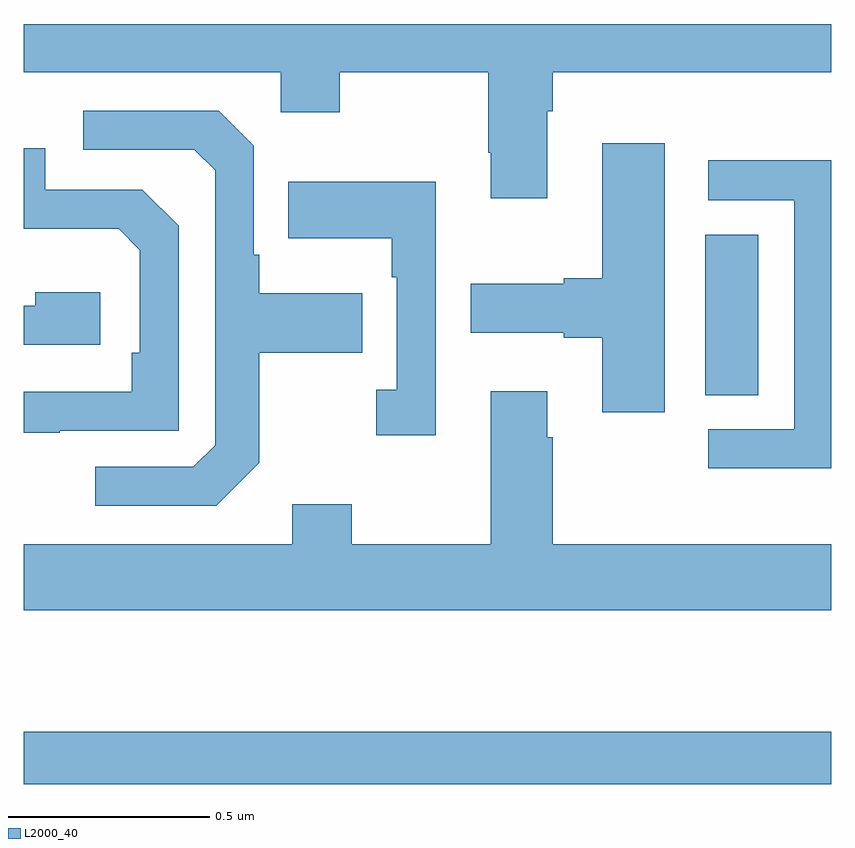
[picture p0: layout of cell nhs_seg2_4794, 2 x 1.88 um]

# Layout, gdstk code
import gdstk
lib = gdstk.Library(unit=1e-6, precision=1e-09)
def R(c, l, rs):  # rectangles x0, y0, x1, y1
    for r in rs: c.add(gdstk.rectangle(r[:2], r[2:], *l))
def P(c, l, *ps):  # polygons
    for p in ps: c.add(gdstk.Polygon(p, *l))
L2000_40 = (2000, 40)

nhs_seg2_4794 = lib.new_cell('nhs_seg2_4794')
R(nhs_seg2_4794, L2000_40, [(171,601.918,173,602.047), (172.688,602.881,172.819,603.278)])
P(nhs_seg2_4794, L2000_40, [(172.297,603.584),(172.31,603.584),(172.31,603.68),(173,603.68),(173,603.8),(171,603.8),(171,603.68),(171.636,603.68),(171.636,603.581),(171.783,603.581),(171.783,603.68),(172.15,603.68),(172.15,603.481),(172.157,603.481),(172.157,603.369),(172.297,603.369)],
  [(171.583,602.713),(171.583,602.986),(171.839,602.986),(171.839,603.133),(171.583,603.133),(171.583,603.229),(171.57,603.229),(171.57,603.498),(171.483,603.585),(171.147,603.585),(171.147,603.489),(171.423,603.489),(171.474,603.438),(171.474,602.757),(171.42,602.703),(171.177,602.703),(171.177,602.607),(171.477,602.607)],
  [(172.588,603.505),(172.433,603.505),(172.433,603.17),(172.337,603.17),(172.337,603.157),(172.107,603.157),(172.107,603.035),(172.337,603.035),(172.337,603.023),(172.433,603.023),(172.433,602.838),(172.588,602.838)],
  [(171.089,602.793),(171.384,602.793),(171.384,603.3),(171.294,603.39),(171.054,603.39),(171.054,603.492),(171,603.492),(171,603.293),(171.235,603.293),(171.288,603.24),(171.288,602.986),(171.268,602.986),(171.268,602.889),(171,602.889),(171,602.788),(171.089,602.788)],
  [(173,603.462),(172.695,603.462),(172.695,603.363),(172.908,603.363),(172.908,602.796),(172.695,602.796),(172.695,602.7),(173,602.7)],
  [(172.02,603.409),(171.655,603.409),(171.655,603.269),(171.912,603.269),(171.912,603.173),(171.924,603.173),(171.924,602.894),(171.873,602.894),(171.873,602.781),(172.02,602.781)],
  [(171.19,603.136),(171.029,603.136),(171.029,603.102),(171,603.102),(171,603.006),(171.19,603.006)],
  [(173,602.512),(172.31,602.512),(172.31,602.777),(172.297,602.777),(172.297,602.89),(172.157,602.89),(172.157,602.512),(171.813,602.512),(171.813,602.611),(171.665,602.611),(171.665,602.512),(171,602.512),(171,602.348),(173,602.348)])

lib.write_gds('nhs_seg2_4794.gds')
